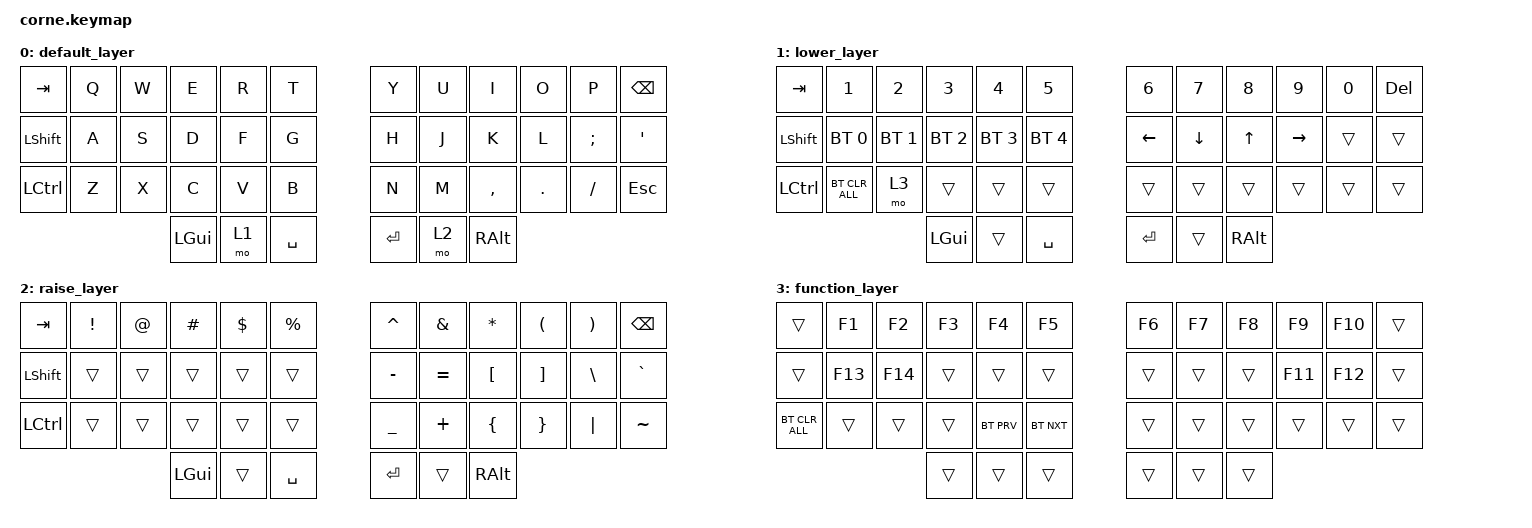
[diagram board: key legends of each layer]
/*
 * Copyright (c) 2020 The ZMK Contributors
 *
 * SPDX-License-Identifier: MIT
 */

#include <behaviors.dtsi>
#include <dt-bindings/zmk/bt.h>
#include <dt-bindings/zmk/keys.h>

#define DEFAULT   0
#define LOWER     1
#define RAISE     2
#define FUNCTION  3

/ {
    combos {
        compatible = "zmk,combos";
        combo_function {
            timeout-ms = <100>; // Increased timeout for easier activation
            key-positions = <31 34>; // LOWER and RAISE keys position
            bindings = <&mo 3>;
        };
    };


    keymap {
        compatible = "zmk,keymap";

                default_layer {
// -----------------------------------------------------------------------------------------
// |  TAB |  Q  |  W  |  E  |  R  |  T  |   |  Y  |  U   |  I  |  O  |  P  | BSPC |
// | SHFT |  A  |  S  |  D  |  F  |  G  |   |  H  |  J   |  K  |  L  |  ;  |  '   |
// | CTRL |  Z  |  X  |  C  |  V  |  B  |   |  N  |  M   |  ,  |  .  |  /  | ESC  |
//                    | GUI | LWR | SPC |   | ENT | RSE  | ALT |
                        bindings = <
   &kp TAB   &kp Q &kp W &kp E &kp R &kp T   &kp Y &kp U  &kp I     &kp O   &kp P    &kp BSPC
   &kp LSHFT &kp A &kp S &kp D &kp F &kp G   &kp H &kp J  &kp K     &kp L   &kp SEMI &kp SQT
   &kp LCTRL &kp Z &kp X &kp C &kp V &kp B   &kp N &kp M  &kp COMMA &kp DOT &kp FSLH &kp ESC
                  &kp LGUI &mo 1 &kp SPACE   &kp RET &mo 2 &kp RALT
                        >;
                };
                lower_layer {
// -----------------------------------------------------------------------------------------
// |  TAB |  1  |  2  |  3  |  4  |  5  |   |  6  |  7  |  8  |  9  |  0  | DEL |
// | SHFT| BT1 | BT2 | BT3 | BT4 | BT5 |   | LFT | DWN |  UP | RGT |     |      |
// | CTRL |     |     |     |     |     |   |     |     |     |     |     |      |
//                    | GUI |     | SPC |   | ENT |     | ALT |
                        bindings = <
   &kp TAB    &kp N1       &kp N2       &kp N3       &kp N4       &kp N5         &kp N6   &kp N7   &kp N8 &kp N9    &kp N0 &kp DEL
   &kp LSHFT &bt BT_SEL 0 &bt BT_SEL 1 &bt BT_SEL 2 &bt BT_SEL 3 &bt BT_SEL 4   &kp LEFT &kp DOWN &kp UP &kp RIGHT &trans &trans
   &kp LCTRL  &bt BT_CLR_ALL       &mo 3       &trans       &trans       &trans         &trans   &trans   &trans &trans    &trans &trans
                                    &kp LGUI     &trans       &kp SPACE      &kp RET  &trans   &kp RALT
                        >;
                };

                raise_layer {
// -----------------------------------------------------------------------------------------
// |  TAB |  !  |  @  |  #  |  $  |  %  |   |  ^  |  &  |  *  |  (  |  )  | BSPC |
// | SHFT |     |     |     |     |     |   |  -  |  =  |  [  |  ]  |  \  |  `   |
// | CTRL |     |     |     |     |     |   |  _  |  +  |  {  |  }  | "|" |  ~   |
//                    | GUI |     | SPC |   | ENT |     | ALT |
                        bindings = <
   &kp  TAB  &kp EXCL &kp AT &kp HASH &kp DLLR &kp PRCNT   &kp CARET &kp AMPS  &kp ASTRK &kp LPAR &kp RPAR &kp BSPC
   &kp LSHFT &trans   &trans &trans   &trans   &trans      &kp MINUS &kp EQUAL &kp LBKT  &kp RBKT &kp BSLH &kp GRAVE
   &kp LCTRL &trans   &trans &trans   &trans   &trans      &kp UNDER &kp PLUS  &kp LBRC  &kp RBRC &kp PIPE &kp TILDE
                             &kp LGUI &trans   &kp SPACE   &kp RET   &trans    &kp RALT
                        >;
                };

        function_layer {
            bindings = <
&trans          &kp F1   &kp F2   &kp F3  &kp F4      &kp F5        &kp F6  &kp F7  &kp F8  &kp F9   &kp F10  &trans
&trans          &kp F13  &kp F14  &trans  &trans      &trans        &trans  &trans  &trans  &kp F11  &kp F12  &trans
&bt BT_CLR_ALL  &trans   &trans   &trans  &bt BT_PRV  &bt BT_NXT    &trans  &trans  &trans  &trans   &trans   &trans
                                  &trans  &trans      &trans        &trans  &trans  &trans
            >;
        };
    };
};
